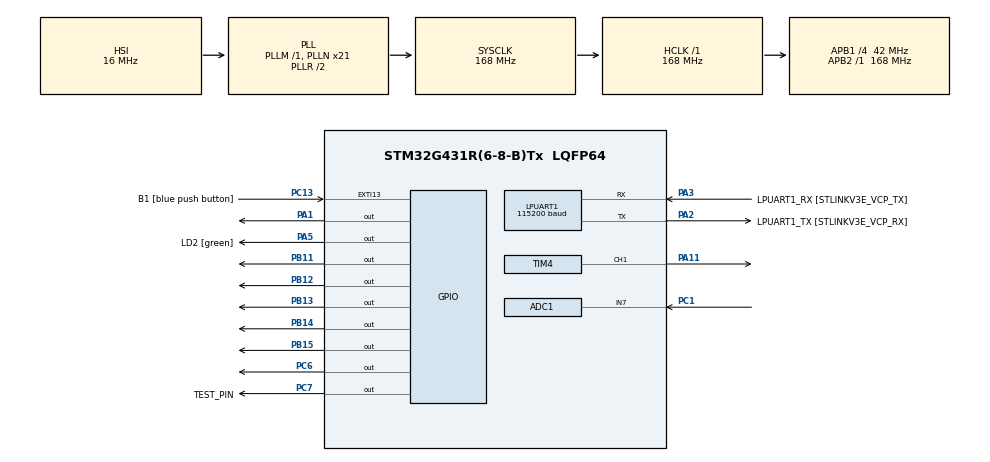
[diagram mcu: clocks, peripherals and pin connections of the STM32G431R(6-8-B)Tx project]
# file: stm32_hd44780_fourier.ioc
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ADC1.Channel-2\#ChannelRegularConversion=ADC_CHANNEL_7
ADC1.ClockPrescaler=ADC_CLOCK_ASYNC_DIV16
ADC1.DMAContinuousRequests=ENABLE
ADC1.ExternalTrigConv=ADC_EXTERNALTRIG_T2_TRGO
ADC1.NbrOfConversionFlag=1
ADC1.OffsetNumber-2\#ChannelRegularConversion=ADC_OFFSET_NONE
ADC1.Rank-2\#ChannelRegularConversion=1
ADC1.SamplingTime-2\#ChannelRegularConversion=ADC_SAMPLETIME_2CYCLES_5
ADC1.master=1
Dma.ADC1.0.Direction=DMA_PERIPH_TO_MEMORY
Dma.ADC1.0.EventEnable=DISABLE
Dma.ADC1.0.Instance=DMA1_Channel1
Dma.ADC1.0.MemDataAlignment=DMA_MDATAALIGN_HALFWORD
Dma.ADC1.0.MemInc=DMA_MINC_ENABLE
Dma.ADC1.0.Mode=DMA_CIRCULAR
Dma.ADC1.0.PeriphDataAlignment=DMA_PDATAALIGN_HALFWORD
Dma.ADC1.0.PeriphInc=DMA_PINC_DISABLE
Dma.ADC1.0.Polarity=HAL_DMAMUX_REQ_GEN_RISING
Dma.ADC1.0.Priority=DMA_PRIORITY_LOW
Dma.ADC1.0.RequestNumber=1
Dma.ADC1.0.SignalID=NONE
Dma.ADC1.0.SyncEnable=DISABLE
Dma.ADC1.0.SyncPolarity=HAL_DMAMUX_SYNC_NO_EVENT
Dma.ADC1.0.SyncRequestNumber=1
Dma.ADC1.0.SyncSignalID=NONE
Dma.Request0=ADC1
LPUART1.BaudRate=115200
LPUART1.WordLength=UART_WORDLENGTH_8B
Mcu.Family=STM32G4
Mcu.Name=STM32G431R(6-8-B)Tx
Mcu.Package=LQFP64
NVIC.DMA1_Channel1_IRQn=true\:1\:0\:true\:false\:true\:false\:true\:true
NVIC.PriorityGroup=NVIC_PRIORITYGROUP_1
PA1.Signal=GPIO_Output
PA11.Signal=S_TIM4_CH1
PA13.GPIO_Label=T_SWDIO
PA13.Mode=Serial_Wire
PA13.Signal=SYS_JTMS-SWDIO
PA14.GPIO_Label=T_SWCLK
PA14.Mode=Serial_Wire
PA14.Signal=SYS_JTCK-SWCLK
PA2.GPIO_Label=LPUART1_TX [STLINKV3E_VCP_RX]
PA2.Mode=Asynchronous
PA2.Signal=LPUART1_TX
PA3.GPIO_Label=LPUART1_RX [STLINKV3E_VCP_TX]
PA3.Mode=Asynchronous
PA3.Signal=LPUART1_RX
PA5.GPIO_Label=LD2 [green]
PA5.Signal=GPIO_Output
PB11.Signal=GPIO_Output
PB12.Signal=GPIO_Output
PB13.Signal=GPIO_Output
PB14.Signal=GPIO_Output
PB15.Signal=GPIO_Output
PB3.GPIO_Label=T_SWO
PB3.Signal=SYS_JTDO-SWO
PC1.Mode=IN7-Single-Ended
PC1.Signal=ADC1_IN7
PC13.GPIO_Label=B1 [blue push button]
PC13.Signal=GPXTI13
PC14-OSC32_IN.Mode=LSE-External-Oscillator
PC14-OSC32_IN.Signal=RCC_OSC32_IN
PC15-OSC32_OUT.Mode=LSE-External-Oscillator
PC15-OSC32_OUT.Signal=RCC_OSC32_OUT
PC6.Signal=GPIO_Output
PC7.GPIO_Label=TEST_PIN
PC7.Signal=GPIO_Output
PF0-OSC_IN.Mode=HSE-External-Oscillator
PF0-OSC_IN.Signal=RCC_OSC_IN
PF1-OSC_OUT.Mode=HSE-External-Oscillator
PF1-OSC_OUT.Signal=RCC_OSC_OUT
ProjectManager.HeapSize=0x200
ProjectManager.StackSize=0x400
ProjectManager.TargetToolchain=STM32CubeIDE
RCC.ADC12Freq_Value=168000000
RCC.AHBFreq_Value=168000000
RCC.APB1CLKDivider=RCC_HCLK_DIV4
RCC.APB1Freq_Value=42000000
RCC.APB1TimFreq_Value=84000000
RCC.APB2Freq_Value=168000000
RCC.APB2TimFreq_Value=168000000
RCC.CortexFreq_Value=168000000
RCC.EXTERNAL_CLOCK_VALUE=12288000
RCC.HCLKFreq_Value=168000000
RCC.HSE_VALUE=24000000
RCC.HSI48_VALUE=48000000
RCC.HSI_VALUE=16000000
RCC.PLLN=21
RCC.PLLP=RCC_PLLP_DIV4
RCC.RTCClockSelection=RCC_RTCCLKSOURCE_LSE
RCC.SYSCLKFreq_VALUE=168000000
RCC.SYSCLKSource=RCC_SYSCLKSOURCE_PLLCLK
RCC.USBFreq_Value=168000000
RCC.VCOOutputFreq_Value=336000000
SH.S_TIM4_CH1.0=TIM4_CH1,PWM Generation1 CH1
TIM2.PeriodNoDither=5-1
TIM2.Prescaler=84-1
TIM2.TIM_MasterOutputTrigger=TIM_TRGO_UPDATE
TIM3.Prescaler=84-1
TIM4.Channel-PWM\ Generation1\ CH1=TIM_CHANNEL_1
TIM4.PeriodNoDither=100
TIM4.PulseNoDither_1=1
VP_SYS_VS_DBSignals.Mode=DisableDeadBatterySignals
VP_TIM2_VS_ClockSourceINT.Mode=Internal
VP_TIM3_VS_ClockSourceINT.Mode=Internal
VP_TIM4_VS_ClockSourceINT.Mode=Internal
board=NUCLEO-G431RB

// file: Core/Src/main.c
/* USER CODE BEGIN Header */
/**
  ******************************************************************************
  * @file           : main.c
  * @brief          : Main program body
  ******************************************************************************
  * @attention
  *
  * Copyright (c) 2023 STMicroelectronics.
  * All rights reserved.
  *
  * This software is licensed under terms that can be found in the LICENSE file
  * in the root directory of this software component.
  * If no LICENSE file comes with this software, it is provided AS-IS.
  *
  ******************************************************************************
  */
/* USER CODE END Header */
#include "main.h"
#include "adc.h"
#include "dma.h"
#include "usart.h"
#include "tim.h"
#include "gpio.h"

/* USER CODE BEGIN Includes */
#include "fourier.h"
#include "hd44780.h"
#include <math.h>
#include <stdio.h>
/* USER CODE END Includes */

/* USER CODE BEGIN PD */
#define FFT_LENGTH 256
#define SAMPLING_RATE 16000

#define ADC_LENGTH 2

#define CONVERSION_HALF     1
#define CONVERSION_FINISHED 2
#define CONVERSION_OFF      0
/* USER CODE END PD */

/* USER CODE BEGIN PV */
static volatile uint16_t adc_values[ADC_LENGTH];
static volatile uint8_t adc_callback = CONVERSION_OFF;
/* USER CODE END PV */

void SystemClock_Config(void);

/* USER CODE BEGIN 0 */
void HAL_ADC_ConvHalfCpltCallback (ADC_HandleTypeDef * hadc)
{
	if (hadc == &hadc1) {
		adc_callback = CONVERSION_HALF;
	}
}

void HAL_ADC_ConvCpltCallback (ADC_HandleTypeDef * hadc)
{
	if (hadc == &hadc1) {
		adc_callback = CONVERSION_FINISHED;
	}
}
/* USER CODE END 0 */

int main(void)
{

  /* MCU Configuration--------------------------------------------------------*/

  /* Reset of all peripherals, Initializes the Flash interface and the Systick. */
  HAL_Init();

  /* Configure the system clock */
  SystemClock_Config();

  /* Initialize all configured peripherals */
  MX_GPIO_Init();
  MX_DMA_Init();
  MX_LPUART1_UART_Init();
  MX_TIM4_Init();
  MX_TIM3_Init();
  MX_TIM2_Init();
  MX_ADC1_Init();
  /* USER CODE BEGIN 2 */
  char tekst[20];
  /*
  float input_data[FFT_LENGTH];
  float frequency = 500.0;
  float ts = 1.0 / SAMPLING_RATE;

  for (int i = 0; i < FFT_LENGTH; i++)
	  input_data[i] = sin(2*M_PI*frequency*i*ts) + 20;

  HD44780_Init();
  FFT_Compute(input_data, FFT_LENGTH);

  for (int i = 0; i < FFT_LENGTH/2; i++) {
	  if (input_data[i] >= 1) {
		  HD44780_SetCursorXY(0, 0);
		  sprintf(tekst, "f: %.1f Hz", (float)(i * SAMPLING_RATE) / FFT_LENGTH);
		  HD44780_WriteString(tekst);

		  HD44780_SetCursorXY(0, 1);
		  sprintf(tekst, "%.3f", input_data[i]);
		  HD44780_WriteString(tekst);

		  HD44780_Update();
	  }
  }
  */

  HD44780_Init();
  HAL_TIM_Base_Start(&htim2);
  HAL_ADC_Start_DMA(&hadc1, (uint32_t *)adc_values, 2);

  float voltage[2] = {0.0f};

  /* USER CODE END 2 */

  /* Infinite loop */
  /* USER CODE BEGIN WHILE */
  while (1)
  {
	  if (adc_callback == CONVERSION_HALF) {
		  voltage[0] = (3.3f * adc_values[0]) / 4096.0;
		  HAL_GPIO_WritePin(TEST_PIN_GPIO_Port, TEST_PIN_Pin, GPIO_PIN_SET);

	  HD44780_SetCursor(0, 0);
	  sprintf(tekst, "%.f V", voltage[0]);
	  HD44780_WriteString("ABNCD");
		  adc_callback = CONVERSION_OFF;
	  }
	  if (adc_callback == CONVERSION_FINISHED) {
		  voltage[1] = (3.3f * adc_values[1]) / 4096.0;
		  HAL_GPIO_WritePin(TEST_PIN_GPIO_Port, TEST_PIN_Pin, GPIO_PIN_RESET);

	  HD44780_SetCursor(0, 1);
	  HD44780_WriteString("DELF");

	  HD44780_Update();
		  adc_callback = CONVERSION_OFF;
	  }

    /* USER CODE END WHILE */

  }
}

void SystemClock_Config(void)
{
  RCC_OscInitTypeDef RCC_OscInitStruct = {0};
  RCC_ClkInitTypeDef RCC_ClkInitStruct = {0};

  /** Configure the main internal regulator output voltage
  */
  HAL_PWREx_ControlVoltageScaling(PWR_REGULATOR_VOLTAGE_SCALE1_BOOST);

  /** Initializes the RCC Oscillators according to the specified parameters
  * in the RCC_OscInitTypeDef structure.
  */
  RCC_OscInitStruct.OscillatorType = RCC_OSCILLATORTYPE_HSI;
  RCC_OscInitStruct.HSIState = RCC_HSI_ON;
  RCC_OscInitStruct.HSICalibrationValue = RCC_HSICALIBRATION_DEFAULT;
  RCC_OscInitStruct.PLL.PLLState = RCC_PLL_ON;
  RCC_OscInitStruct.PLL.PLLSource = RCC_PLLSOURCE_HSI;
  RCC_OscInitStruct.PLL.PLLM = RCC_PLLM_DIV1;
  RCC_OscInitStruct.PLL.PLLN = 21;
  RCC_OscInitStruct.PLL.PLLP = RCC_PLLP_DIV4;
  RCC_OscInitStruct.PLL.PLLQ = RCC_PLLQ_DIV2;
  RCC_OscInitStruct.PLL.PLLR = RCC_PLLR_DIV2;
  if (HAL_RCC_OscConfig(&RCC_OscInitStruct) != HAL_OK)
  {
    Error_Handler();
  }

  /** Initializes the CPU, AHB and APB buses clocks
  */
  RCC_ClkInitStruct.ClockType = RCC_CLOCKTYPE_HCLK|RCC_CLOCKTYPE_SYSCLK
                              |RCC_CLOCKTYPE_PCLK1|RCC_CLOCKTYPE_PCLK2;
  RCC_ClkInitStruct.SYSCLKSource = RCC_SYSCLKSOURCE_PLLCLK;
  RCC_ClkInitStruct.AHBCLKDivider = RCC_SYSCLK_DIV1;
  RCC_ClkInitStruct.APB1CLKDivider = RCC_HCLK_DIV4;
  RCC_ClkInitStruct.APB2CLKDivider = RCC_HCLK_DIV1;

  if (HAL_RCC_ClockConfig(&RCC_ClkInitStruct, FLASH_LATENCY_4) != HAL_OK)
  {
    Error_Handler();
  }
}

void Error_Handler(void)
{
  __disable_irq();
  while (1)
  {
  }
}
